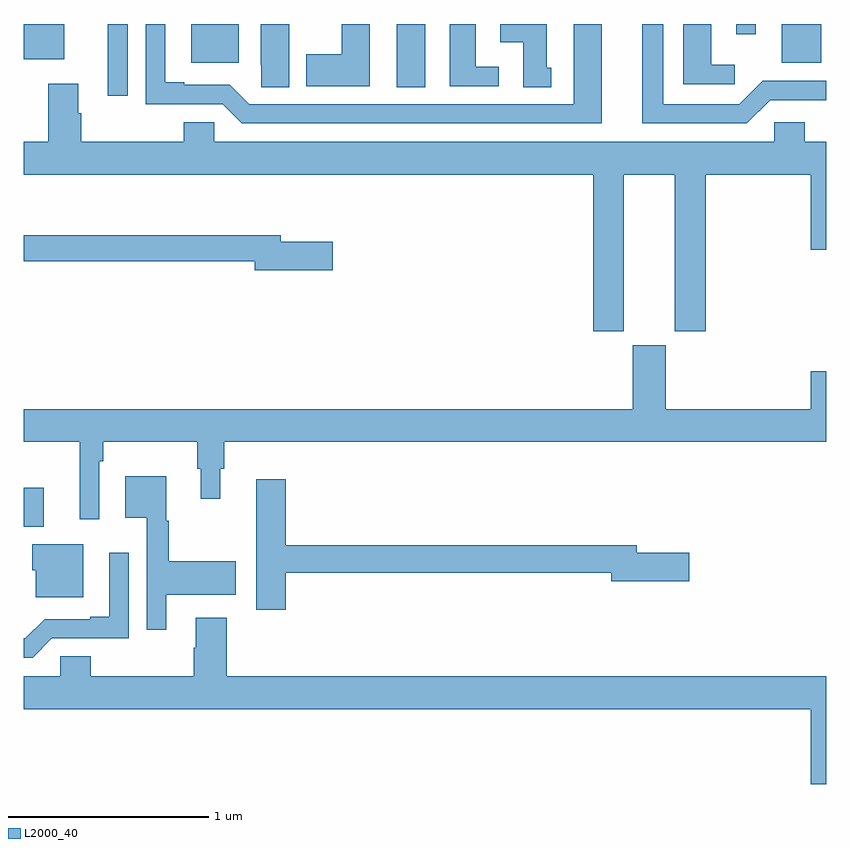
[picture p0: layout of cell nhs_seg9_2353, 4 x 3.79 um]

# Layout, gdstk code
import gdstk
lib = gdstk.Library(unit=1e-6, precision=1e-09)
def R(c, l, rs):  # rectangles x0, y0, x1, y1
    for r in rs: c.add(gdstk.rectangle(r[:2], r[2:], *l))
def P(c, l, *ps):  # polygons
    for p in ps: c.add(gdstk.Polygon(p, *l))
L2000_40 = (2000, 40)

nhs_seg9_2353 = lib.new_cell('nhs_seg9_2353')
R(nhs_seg9_2353, L2000_40, [(245,1199.994,245.099,1200.187), (245.419,1202.142,245.517,1202.5), (246.86,1202.185,247,1202.5), (245.834,1202.306,246.07,1202.5), (248.78,1202.306,248.977,1202.5), (245,1202.324,245.2,1202.5), (248.553,1202.448,248.65,1202.5)])
P(nhs_seg9_2353, L2000_40, [(247.369,1202.286),(247.252,1202.286),(247.252,1202.5),(247.124,1202.5),(247.124,1202.19),(247.369,1202.19)],
  [(247.882,1202.5),(247.742,1202.5),(247.742,1202.1),(246.123,1202.1),(246.027,1202.196),(245.8,1202.196),(245.8,1202.209),(245.704,1202.209),(245.704,1202.5),(245.607,1202.5),(245.607,1202.1),(245.991,1202.1),(246.087,1202.004),(247.882,1202.004)],
  [(246.724,1202.5),(246.584,1202.5),(246.584,1202.349),(246.407,1202.349),(246.407,1202.189),(246.724,1202.189)],
  [(246.322,1202.5),(246.182,1202.5),(246.182,1202.296),(246.183,1202.296),(246.183,1202.185),(246.322,1202.185)],
  [(248.545,1202.296),(248.428,1202.296),(248.428,1202.5),(248.288,1202.5),(248.288,1202.199),(248.545,1202.199)],
  [(247.63,1202.283),(247.606,1202.283),(247.606,1202.5),(247.376,1202.5),(247.376,1202.408),(247.49,1202.408),(247.49,1202.185),(247.63,1202.185)],
  [(248.721,1202.121),(248.977,1202.121),(248.977,1202.12),(249,1202.12),(249,1202.217),(248.685,1202.217),(248.568,1202.1),(248.188,1202.1),(248.188,1202.5),(248.084,1202.5),(248.084,1202.004),(248.604,1202.004)],
  [(247.838,1200.969),(247.99,1200.969),(247.99,1201.748),(248.246,1201.748),(248.246,1200.969),(248.399,1200.969),(248.399,1201.748),(248.924,1201.748),(248.924,1201.374),(249,1201.374),(249,1201.912),(248.894,1201.912),(248.894,1202.01),(248.742,1202.01),(248.742,1201.912),(245.949,1201.912),(245.949,1202.01),(245.798,1202.01),(245.798,1201.912),(245.285,1201.912),(245.285,1202.054),(245.272,1202.054),(245.272,1202.203),(245.12,1202.203),(245.12,1201.912),(245,1201.912),(245,1201.748),(247.838,1201.748)],
  [(246.541,1201.413),(246.28,1201.413),(246.28,1201.447),(245,1201.447),(245,1201.318),(246.152,1201.318),(246.152,1201.271),(246.541,1201.271)],
  [(245.376,1200.32),(245.396,1200.32),(245.396,1200.416),(245.863,1200.416),(245.863,1200.282),(245.882,1200.282),(245.882,1200.132),(245.98,1200.132),(245.98,1200.282),(245.999,1200.282),(245.999,1200.416),(249,1200.416),(249,1200.769),(248.924,1200.769),(248.924,1200.58),(248.2,1200.58),(248.2,1200.897),(248.036,1200.897),(248.036,1200.58),(245,1200.58),(245,1200.416),(245.279,1200.416),(245.279,1200.03),(245.376,1200.03)],
  [(245.71,1199.654),(246.055,1199.654),(246.055,1199.82),(245.722,1199.82),(245.722,1200.024),(245.71,1200.024),(245.71,1200.244),(245.504,1200.244),(245.504,1200.038),(245.613,1200.038),(245.613,1199.478),(245.71,1199.478)],
  [(246.305,1199.764),(247.928,1199.764),(247.928,1199.722),(248.317,1199.722),(248.317,1199.864),(248.056,1199.864),(248.056,1199.9),(246.305,1199.9),(246.305,1200.229),(246.158,1200.229),(246.158,1199.58),(246.305,1199.58)],
  [(245.296,1199.905),(245.042,1199.905),(245.042,1199.775),(245.06,1199.775),(245.06,1199.642),(245.296,1199.642)],
  [(245.139,1199.436),(245.523,1199.436),(245.523,1199.863),(245.426,1199.863),(245.426,1199.545),(245.33,1199.545),(245.33,1199.532),(245.103,1199.532),(245.007,1199.436),(245,1199.436),(245,1199.34),(245.043,1199.34)],
  [(249,1199.248),(246.011,1199.248),(246.011,1199.539),(245.858,1199.539),(245.858,1199.39),(245.846,1199.39),(245.846,1199.248),(245.333,1199.248),(245.333,1199.346),(245.181,1199.346),(245.181,1199.248),(245,1199.248),(245,1199.084),(248.924,1199.084),(248.924,1198.71),(249,1198.71)])

lib.write_gds('nhs_seg9_2353.gds')
